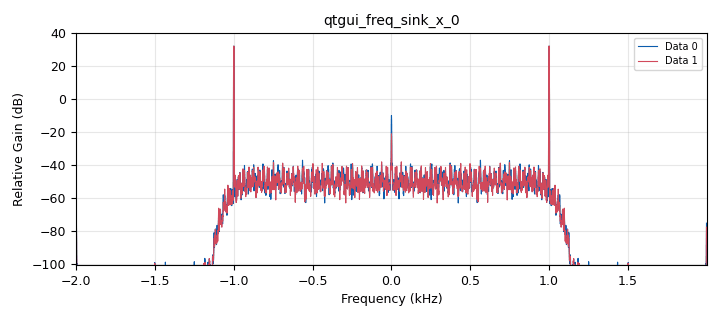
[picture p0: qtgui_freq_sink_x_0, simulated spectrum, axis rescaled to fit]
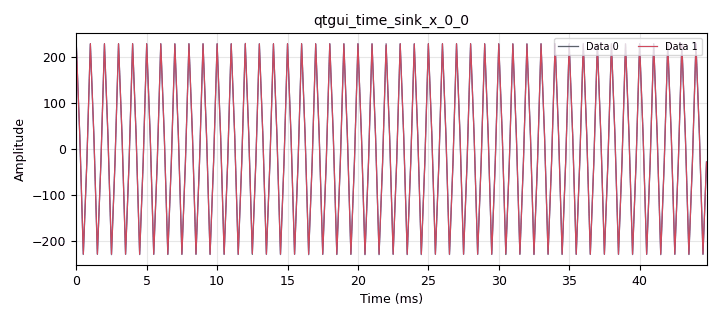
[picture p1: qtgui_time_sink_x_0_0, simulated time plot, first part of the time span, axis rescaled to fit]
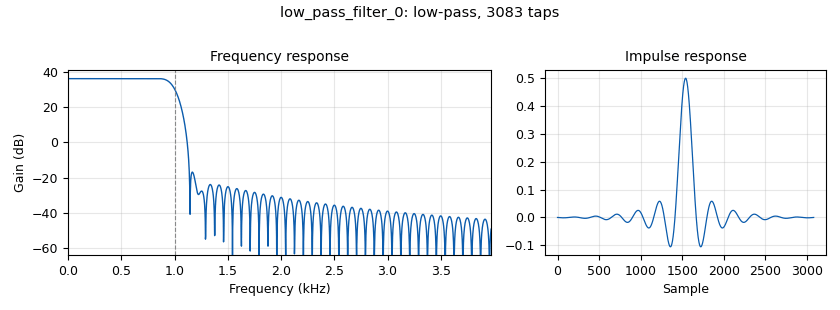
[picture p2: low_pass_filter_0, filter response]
<?xml version='1.0' encoding='utf-8'?>
<?grc format='1' created='3.7.11'?>
<flow_graph>
<block>
<key>options</key>
<param><key>id</key><value>top_block</value></param>
<param><key>generate_options</key><value>qt_gui</value></param>
</block>
<block>
<key>variable</key>
<param><key>id</key><value>M</value></param>
<param><key>value</key><value>64</value></param>
</block>
<block>
<key>variable</key>
<param><key>id</key><value>samp_rate</value></param>
<param><key>value</key><value>256e3</value></param>
</block>
<block>
<key>analog_sig_source_x</key>
<param><key>id</key><value>analog_sig_source_x_0</value></param>
<param><key>amp</key><value>0.9</value></param>
<param><key>freq</key><value>1000</value></param>
<param><key>offset</key><value>0</value></param>
<param><key>type</key><value>float</value></param>
<param><key>samp_rate</key><value>samp_rate</value></param>
<param><key>waveform</key><value>analog.GR_COS_WAVE</value></param>
</block>
<block>
<key>blocks_int_to_float</key>
<param><key>id</key><value>blocks_int_to_float_0</value></param>
<param><key>_enabled</key><value>0</value></param>
<param><key>scale</key><value>1</value></param>
</block>
<block>
<key>blocks_throttle</key>
<param><key>id</key><value>blocks_throttle_0</value></param>
<param><key>samples_per_second</key><value>samp_rate</value></param>
<param><key>type</key><value>float</value></param>
</block>
<block>
<key>epy_block</key>
<param><key>id</key><value>epy_block_0</value></param>
<param><key>_source_code</key><value>"""
Embedded Python Blocks:

Each time this file is saved, GRC will instantiate the first class it finds
to get ports and parameters of your block. The arguments to __init__  will
be the parameters. All of them are required to have default values!
"""

import numpy as np
from gnuradio import gr


class blk(gr.sync_block):  # other base classes are basic_block, decim_block, interp_block
    """Embedded Python Block example - a simple multiply const"""

    def __init__(self, example_param=1.0):  # only default arguments here
        """4 bit signed quantizer"""
        gr.sync_block.__init__(
            self,
            name='4 bit signed quantizer',   # will show up in GRC
            in_sig=[np.float32],
            out_sig=[np.int32]
        )
        # if an attribute with the same name as a parameter is found,
        # a callback is registered (properties work, too).
        self.example_param = example_param

    def work(self, input_items, output_items):
        """example: multiply with constant"""
	for i in range(0,len(input_items[0])):
        	if (input_items[0][i] &gt;= -0.0625 and input_items[0][i] &lt; 0.0625) :
			output_items[0][i] = 0
		elif (input_items[0][i] &gt;=0.0625 and input_items[0][i] &lt; 0.1875) :
			output_items[0][i] = 1
		elif (input_items[0][i] &gt;=0.1875  and input_items[0][i] &lt; 0.3125) :
			output_items[0][i] = 2
		elif (input_items[0][i] &gt;= 0.3125 and input_items[0][i] &lt; 0.4375) :
			output_items[0][i] = 3
		elif (input_items[0][i] &gt;= 0.4375 and input_items[0][i] &lt; 0.5625) :
			output_items[0][i] = 4
		elif (input_items[0][i] &gt;= 0.5625 and input_items[0][i] &lt; 0.6875) :
			output_items[0][i] = 5
		elif (input_items[0][i] &gt;= 0.6875 and input_items[0][i] &lt; 0.8125) :
			output_items[0][i] = 6
		elif (input_items[0][i] &gt;= 0.8125 and input_items[0][i] &lt; 0.9375) :
			output_items[0][i] = 7
		elif (input_items[0][i] &lt; -0.0625 and input_items[0][i] &gt;= -0.1875) :
			output_items[0][i] = -1
		elif (input_items[0][i] &lt; -0.1875 and input_items[0][i] &gt;= -0.3125) :
			output_items[0][i] = -2
		elif (input_items[0][i] &lt; -0.3125 and input_items[0][i] &gt;= -0.4375) :
			output_items[0][i] = -3
		elif (input_items[0][i] &lt; -0.4375 and input_items[0][i] &gt;= -0.5625) :
			output_items[0][i] = -4
		elif (input_items[0][i] &lt; -0.5625 and input_items[0][i] &gt;= -0.6875) :
			output_items[0][i] = -5
		elif (input_items[0][i] &lt; -0.6875 and input_items[0][i] &gt;= -0.8125) :
			output_items[0][i] = -6
		elif (input_items[0][i] &lt; -0.8125 and input_items[0][i] &gt;= -0.9375) :
			output_items[0][i] = -7
		elif (input_items[0][i] &lt; -0.9375 and input_items[0][i] &gt;= -1) :
			output_items[0][i] = -8
		
        return len(output_items[0])
</value></param>
<param><key>_enabled</key><value>0</value></param>
<param><key>example_param</key><value>1.0</value></param>
</block>
<block>
<key>epy_block</key>
<param><key>id</key><value>epy_block_1</value></param>
<param><key>_source_code</key><value>"""
Embedded Python Blocks:

Each time this file is saved, GRC will instantiate the first class it finds
to get ports and parameters of your block. The arguments to __init__  will
be the parameters. All of them are required to have default values!
"""

import numpy as np
from gnuradio import gr
import math

class blk(gr.sync_block):  # other base classes are basic_block, decim_block, interp_block
    """Embedded Python Block example - a simple multiply const"""

    def __init__(self, example_param=1.0):  # only default arguments here
        """4 bit signed quantizer with first order SD"""
        gr.sync_block.__init__(
            self,
            name='4 bit signed quantizer with first order SD',   # will show up in GRC
            in_sig=[np.float32],
            out_sig=[np.float32]
        )
        # if an attribute with the same name as a parameter is found,
        # a callback is registered (properties work, too).
        self.example_param = example_param

    def work(self, input_items, output_items):
        """example: multiply with constant"""
	u = []
	u.append([])
	
	v = []
	v.append([])

	dac_out = []
	dac_out.append([])

	u[0][:] = np.zeros(len(input_items[0])) 
	v[0][:] = np.zeros(len(input_items[0])) 
	dac_out[0][:] = np.zeros(len(input_items[0])) 

	u[0][0] = input_items[0][0]
	v[0][0] = 0
	output_items[0][0] = 0

	for i in range(1,len(input_items[0])):
		u[0][i] = input_items[0][i] - dac_out[0][i-1] 
		v[0][i] = v[0][i-1] + u[0][i]
        	if (v[0][i] &gt;= -0.0625 and v[0][i] &lt; 0.0625) :
			output_items[0][i] = 0
			dac_out[0][i] = (-0.0625 + 0.0625)/2
		elif (v[0][i] &gt;=0.0625 and v[0][i] &lt; 0.1875) :
			output_items[0][i] = 1
			dac_out[0][i] = (0.0625 + 0.1875)/2
		elif (v[0][i] &gt;=0.1875  and v[0][i] &lt; 0.3125) :
			output_items[0][i] = 2
			dac_out[0][i] = (0.1875 + 0.3125)/2
		elif (v[0][i] &gt;= 0.3125 and v[0][i] &lt; 0.4375) :
			output_items[0][i] = 3
			dac_out[0][i] = (0.3125 + 0.4375)/2
		elif (v[0][i] &gt;= 0.4375 and v[0][i] &lt; 0.5625) :
			output_items[0][i] = 4
			dac_out[0][i] = (0.4375 + 0.5625)/2
		elif (v[0][i] &gt;= 0.5625 and v[0][i] &lt; 0.6875) :
			output_items[0][i] = 5
			dac_out[0][i] = (0.5625 + 0.6875)/2
		elif (v[0][i] &gt;= 0.6875 and v[0][i] &lt; 0.8125) :
			output_items[0][i] = 6
			dac_out[0][i] = (0.6875 + 0.8125)/2
		elif (v[0][i] &gt;= 0.8125 and v[0][i] &lt; 0.9375) :
			output_items[0][i] = 7
			dac_out[0][i] = (0.8125 + 0.9375)/2
		elif (v[0][i] &gt;= 0.9375) :
			output_items[0][i] = 7
			dac_out[0][i] = (0.8125 + 0.9375)/2
		elif (v[0][i] &lt; -0.0625 and v[0][i] &gt;= -0.1875) :
			output_items[0][i] = -1
			dac_out[0][i] = (-0.0625 - 0.1875)/2
		elif (v[0][i] &lt; -0.1875 and v[0][i] &gt;= -0.3125) :
			output_items[0][i] = -2
			dac_out[0][i] = (-0.1875 - 0.3125)/2
		elif (v[0][i] &lt; -0.3125 and v[0][i] &gt;= -0.4375) :
			output_items[0][i] = -3
			dac_out[0][i] = (-0.3125 - 0.4375)/2
		elif (v[0][i] &lt; -0.4375 and v[0][i] &gt;= -0.5625) :
			output_items[0][i] = -4
			dac_out[0][i] = (-0.4375 - 0.5625)/2
		elif (v[0][i] &lt; -0.5625 and v[0][i] &gt;= -0.6875) :
			output_items[0][i] = -5
			dac_out[0][i] = (-0.5625 - 0.6875)/2
		elif (v[0][i] &lt; -0.6875 and v[0][i] &gt;= -0.8125) :
			output_items[0][i] = -6
			dac_out[0][i] = (-0.6875 - 0.8125)/2
		elif (v[0][i] &lt; -0.8125 and v[0][i] &gt;= -0.9375) :
			output_items[0][i] = -7
			dac_out[0][i] = (-0.8125 - 0.9375)/2
		elif (v[0][i] &lt; -0.9375 and v[0][i] &gt;= -1) :
			output_items[0][i] = -8
			dac_out[0][i] = (-0.9375 - 1)/2
		elif (v[0][i] &lt; -1):
			output_items[0][i] = -8
			dac_out[0][i] = (-0.9375 - 1)/2

		
        return len(output_items[0])
</value></param>
<param><key>example_param</key><value>1.0</value></param>
</block>
<block>
<key>epy_block</key>
<param><key>id</key><value>epy_block_1_0</value></param>
<param><key>_source_code</key><value>"""
Embedded Python Blocks:

Each time this file is saved, GRC will instantiate the first class it finds
to get ports and parameters of your block. The arguments to __init__  will
be the parameters. All of them are required to have default values!
"""

import numpy as np
from gnuradio import gr
import math

class blk(gr.sync_block):  # other base classes are basic_block, decim_block, interp_block
    """Embedded Python Block example - a simple multiply const"""

    def __init__(self, example_param=1.0):  # only default arguments here
        """4 bit signed quantizer with second order SD"""
        gr.sync_block.__init__(
            self,
            name='4 bit signed quantizer with second order SD',   # will show up in GRC
            in_sig=[np.float32],
            out_sig=[np.float32]
        )
        # if an attribute with the same name as a parameter is found,
        # a callback is registered (properties work, too).
        self.example_param = example_param

    def work(self, input_items, output_items):
        """example: multiply with constant"""
	u = []
	u.append([])
	
	v = []
	v.append([])

	x = []
	x.append([])

	y = []
	y.append([])

	dac_out = []
	dac_out.append([])


	u[0][:] = np.zeros(len(input_items[0])) 
	v[0][:] = np.zeros(len(input_items[0]))
	x[0][:] = np.zeros(len(input_items[0]))
	y[0][:] = np.zeros(len(input_items[0]))		
	dac_out[0][:] = np.zeros(len(input_items[0]))	 

	x[0][0] = input_items[0][0]
	y[0][0] = 0
	u[0][0] = 0
	v[0][0] = 0
	output_items[0][0] = 0
	
	
	for i in range(1,len(input_items[0])):
		x[0][i] = input_items[0][i] - dac_out[0][i-1] 
		y[0][i] = y[0][i-1] + x[0][i]
		if y[0][i] &gt; 1:
			y[0][i] = 1
		elif y[0][i] &lt; -1:
			y[0][i] = -1
		u[0][i] = y[0][i] - dac_out[0][i-1]
		v[0][i] = v[0][i-1] + u[0][i]
        	if (v[0][i] &gt;= -0.0625 and v[0][i] &lt; 0.0625) :
			output_items[0][i] = 0
			dac_out[0][i] = (-0.0625 + 0.0625)/2
		elif (v[0][i] &gt;=0.0625 and v[0][i] &lt; 0.1875) :
			output_items[0][i] = 1
			dac_out[0][i] = (0.0625 + 0.1875)/2
		elif (v[0][i] &gt;=0.1875  and v[0][i] &lt; 0.3125) :
			output_items[0][i] = 2
			dac_out[0][i] = (0.1875 + 0.3125)/2
		elif (v[0][i] &gt;= 0.3125 and v[0][i] &lt; 0.4375) :
			output_items[0][i] = 3
			dac_out[0][i] = (0.3125 + 0.4375)/2
		elif (v[0][i] &gt;= 0.4375 and v[0][i] &lt; 0.5625) :
			output_items[0][i] = 4
			dac_out[0][i] = (0.4375 + 0.5625)/2
		elif (v[0][i] &gt;= 0.5625 and v[0][i] &lt; 0.6875) :
			output_items[0][i] = 5
			dac_out[0][i] = (0.5625 + 0.6875)/2
		elif (v[0][i] &gt;= 0.6875 and v[0][i] &lt; 0.8125) :
			output_items[0][i] = 6
			dac_out[0][i] = (0.6875 + 0.8125)/2
		elif (v[0][i] &gt;= 0.8125 and v[0][i] &lt; 0.9375) :
			output_items[0][i] = 7
			dac_out[0][i] = (0.8125 + 0.9375)/2
		elif (v[0][i] &gt;= 0.9375) :
			output_items[0][i] = 7
			dac_out[0][i] = (0.8125 + 0.9375)/2
		elif (v[0][i] &lt; -0.0625 and v[0][i] &gt;= -0.1875) :
			output_items[0][i] = -1
			dac_out[0][i] = (-0.0625 - 0.1875)/2
		elif (v[0][i] &lt; -0.1875 and v[0][i] &gt;= -0.3125) :
			output_items[0][i] = -2
			dac_out[0][i] = (-0.1875 - 0.3125)/2
		elif (v[0][i] &lt; -0.3125 and v[0][i] &gt;= -0.4375) :
			output_items[0][i] = -3
			dac_out[0][i] = (-0.3125 - 0.4375)/2
		elif (v[0][i] &lt; -0.4375 and v[0][i] &gt;= -0.5625) :
			output_items[0][i] = -4
			dac_out[0][i] = (-0.4375 - 0.5625)/2
		elif (v[0][i] &lt; -0.5625 and v[0][i] &gt;= -0.6875) :
			output_items[0][i] = -5
			dac_out[0][i] = (-0.5625 - 0.6875)/2
		elif (v[0][i] &lt; -0.6875 and v[0][i] &gt;= -0.8125) :
			output_items[0][i] = -6
			dac_out[0][i] = (-0.6875 - 0.8125)/2
		elif (v[0][i] &lt; -0.8125 and v[0][i] &gt;= -0.9375) :
			output_items[0][i] = -7
			dac_out[0][i] = (-0.8125 - 0.9375)/2
		elif (v[0][i] &lt; -0.9375 and v[0][i] &gt;= -1) :
			output_items[0][i] = -8
			dac_out[0][i] = (-0.9375 - 1)/2
		elif (v[0][i] &lt; -1):
			output_items[0][i] = -8
			dac_out[0][i] = (-0.9375 - 1)/2

		

		
        return len(output_items[0])
</value></param>
<param><key>example_param</key><value>1.0</value></param>
</block>
<block>
<key>low_pass_filter</key>
<param><key>id</key><value>low_pass_filter_0</value></param>
<param><key>cutoff_freq</key><value>1e3</value></param>
<param><key>decim</key><value>M</value></param>
<param><key>type</key><value>fir_filter_fff</value></param>
<param><key>gain</key><value>M</value></param>
<param><key>samp_rate</key><value>samp_rate</value></param>
<param><key>width</key><value>0.2e3</value></param>
<param><key>win</key><value>firdes.WIN_HAMMING</value></param>
</block>
<block>
<key>low_pass_filter</key>
<param><key>id</key><value>low_pass_filter_0_0</value></param>
<param><key>cutoff_freq</key><value>1e3</value></param>
<param><key>decim</key><value>M</value></param>
<param><key>type</key><value>fir_filter_fff</value></param>
<param><key>gain</key><value>M</value></param>
<param><key>samp_rate</key><value>samp_rate</value></param>
<param><key>width</key><value>0.2e3</value></param>
<param><key>win</key><value>firdes.WIN_HAMMING</value></param>
</block>
<block>
<key>qtgui_freq_sink_x</key>
<param><key>id</key><value>qtgui_freq_sink_x_0</value></param>
<param><key>average</key><value>0.05</value></param>
<param><key>bw</key><value>samp_rate/M</value></param>
<param><key>fc</key><value>0</value></param>
<param><key>fftsize</key><value>4096</value></param>
<param><key>label2</key><value></value></param>
<param><key>nconnections</key><value>2</value></param>
<param><key>showports</key><value>True</value></param>
<param><key>type</key><value>float</value></param>
<param><key>wintype</key><value>firdes.WIN_BLACKMAN_hARRIS</value></param>
</block>
<block>
<key>qtgui_time_sink_x</key>
<param><key>id</key><value>qtgui_time_sink_x_0_0</value></param>
<param><key>ctrlpanel</key><value>True</value></param>
<param><key>color1</key><value>"blue"</value></param>
<param><key>label1</key><value></value></param>
<param><key>color2</key><value>"red"</value></param>
<param><key>label2</key><value></value></param>
<param><key>nconnections</key><value>2</value></param>
<param><key>size</key><value>4096</value></param>
<param><key>srate</key><value>samp_rate/M</value></param>
<param><key>type</key><value>float</value></param>
</block>
<connection><source_block_id>analog_sig_source_x_0</source_block_id><sink_block_id>blocks_throttle_0</sink_block_id><source_key>0</source_key><sink_key>0</sink_key></connection>
<connection><source_block_id>blocks_throttle_0</source_block_id><sink_block_id>epy_block_0</sink_block_id><source_key>0</source_key><sink_key>0</sink_key></connection>
<connection><source_block_id>blocks_throttle_0</source_block_id><sink_block_id>epy_block_1</sink_block_id><source_key>0</source_key><sink_key>0</sink_key></connection>
<connection><source_block_id>blocks_throttle_0</source_block_id><sink_block_id>epy_block_1_0</sink_block_id><source_key>0</source_key><sink_key>0</sink_key></connection>
<connection><source_block_id>epy_block_0</source_block_id><sink_block_id>blocks_int_to_float_0</sink_block_id><source_key>0</source_key><sink_key>0</sink_key></connection>
<connection><source_block_id>epy_block_1</source_block_id><sink_block_id>low_pass_filter_0</sink_block_id><source_key>0</source_key><sink_key>0</sink_key></connection>
<connection><source_block_id>epy_block_1_0</source_block_id><sink_block_id>low_pass_filter_0_0</sink_block_id><source_key>0</source_key><sink_key>0</sink_key></connection>
<connection><source_block_id>low_pass_filter_0</source_block_id><sink_block_id>qtgui_freq_sink_x_0</sink_block_id><source_key>0</source_key><sink_key>1</sink_key></connection>
<connection><source_block_id>low_pass_filter_0</source_block_id><sink_block_id>qtgui_time_sink_x_0_0</sink_block_id><source_key>0</source_key><sink_key>1</sink_key></connection>
<connection><source_block_id>low_pass_filter_0_0</source_block_id><sink_block_id>qtgui_freq_sink_x_0</sink_block_id><source_key>0</source_key><sink_key>0</sink_key></connection>
<connection><source_block_id>low_pass_filter_0_0</source_block_id><sink_block_id>qtgui_time_sink_x_0_0</sink_block_id><source_key>0</source_key><sink_key>0</sink_key></connection>
</flow_graph>
